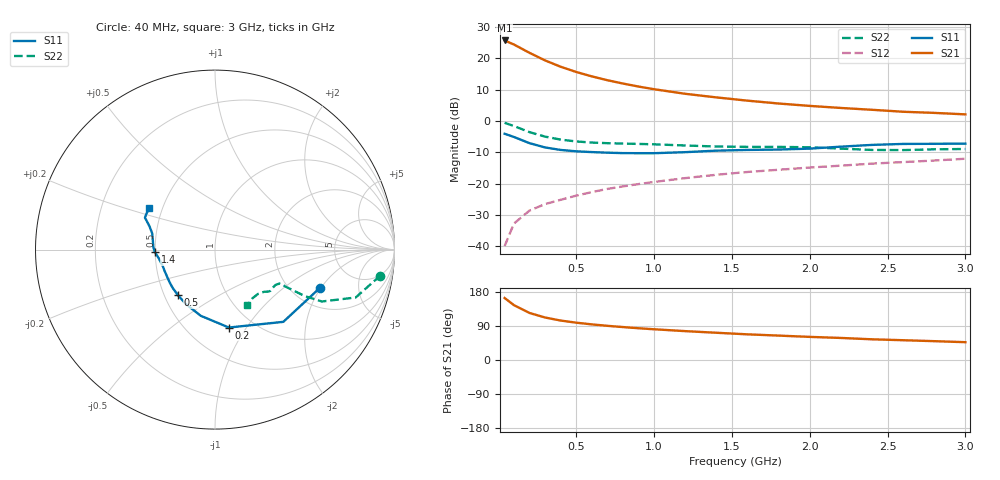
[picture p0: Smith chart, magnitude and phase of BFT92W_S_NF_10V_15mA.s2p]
! Filename:  BFT92WI.S2P  Version:  4.0
! Philips part #: BFT92W  Date: Jun 1994
! Bias condition: Vce=10V, Ic=15mA
#  MHz  S  MA  R  50
! Freq  S11  S21  S12  S22  !GUM [dB]
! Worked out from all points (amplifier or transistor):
!   21 points, 40 MHz to 3 GHz, reference 50 ohm
!   highest |S21| = 25.7 dB at 40 MHz (marker M1)
!   |S21| within 3 dB of that: start of sweep to 164.1 MHz
!   unconditionally stable (mu >= 1): 545.9 MHz to end of sweep
!   at 300 MHz: K = 0.78, MSG = 22.9 dB, |S12| = -26.6 dB
!   at 1 GHz: K = 1.15, MAG = 12.5 dB, |S12| = -19.5 dB
!   at 3 GHz: K = 1.14, MAG = 4.8 dB, |S12| = -12.1 dB
!   lowest NFmin = 3.40 dB at 500 MHz
!   S11 on the Smith chart (normalised r, x): 40 MHz: 2.83, -1.96; 200 MHz: 0.77, -0.84; 500 MHz: 0.59, -0.33; 1.4 GHz: 0.50, -0.02; 3 GHz: 0.42, +0.24
40  0.623 -19.9  19.26 163.6  0.01 80.7  0.933 -8.9
100  0.554 -46.6  16.58 144.7  0.023 70.2  0.828 -18.8
200  0.441 -79.9  12.21 124.1  0.037 63.1  0.662 -25.9
300  0.377 -102.3  9.243 112.1  0.047 61.6  0.561 -27.4
400  0.344 -118.2  7.328 104.1  0.055 62.2  0.503 -27.5
500  0.327 -129.2  6.041 98.5  0.064 63.0  0.47 -27.6
600  0.318 -138.0  5.141 94.0  0.073 64.4  0.451 -27.7
700  0.311 -145.0  4.465 90.2  0.082 65.3  0.441 -27.7
800  0.306 -151.3  3.952 86.9  0.09 66.0  0.435 -27.6
900  0.305 -157.0  3.538 83.8  0.098 66.3  0.429 -27.4
1000  0.305 -162.1  3.206 81.1  0.106 66.7  0.423 -27.3
1200  0.317 -171.2  2.71 76.2  0.122 67.2  0.405 -27.8
1400  0.335 -177.5  2.374 71.9  0.138 67.5  0.39 -30.4
1600  0.344 177.6  2.105 67.7  0.153 67.5  0.385 -34.2
1800  0.349 172.3  1.896 64.4  0.166 68.1  0.385 -36.6
2000  0.361 165.6  1.736 61.0  0.18 68.5  0.379 -38.1
2200  0.388 160.3  1.61 58.2  0.193 69.0  0.361 -40.6
2400  0.414 157.1  1.505 54.6  0.208 69.2  0.344 -45.9
2600  0.429 155.5  1.4 52.2  0.22 69.3  0.342 -52.4
2800  0.431 152.5  1.343 49.7  0.233 69.9  0.352 -56.9
3000  0.434 148.1  1.272 47.0  0.249 70.2  0.356 -59.7
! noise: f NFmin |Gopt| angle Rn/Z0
500  3.4  0.22  59.1  0.61
1000  4.2  0.24  94.2  0.73
